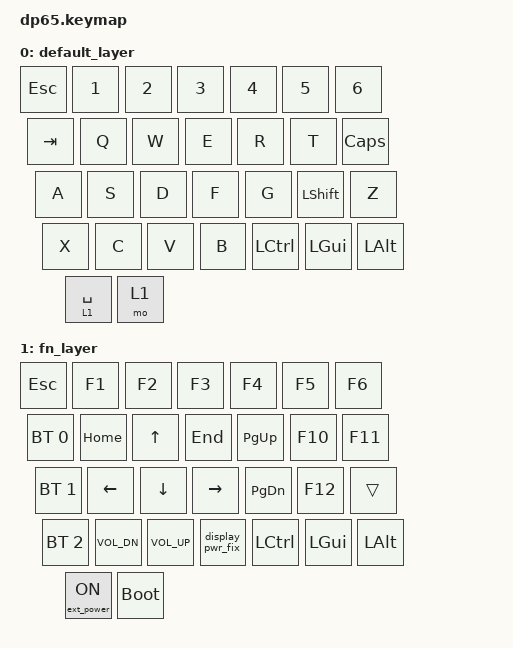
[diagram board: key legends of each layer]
#include <behaviors.dtsi>
#include <dt-bindings/zmk/keys.h>
#include <dt-bindings/zmk/bt.h>
#include <dt-bindings/zmk/ext_power.h>

/ {
    /* FN+B: power-cycle ext VCC (brief flash = panel works, needs reset after) */
    display_pwr_fix: display_pwr_fix {
        compatible = "zmk,behavior-macro";
        #binding-cells = <0>;
        wait-ms = <500>;
        bindings = <&ext_power EP_OFF &ext_power EP_ON>;
    };

    keymap {
        compatible = "zmk,keymap";

        default_layer {
            bindings = <
                &kp ESC   &kp N1    &kp N2    &kp N3    &kp N4    &kp N5    &kp N6
                &kp TAB   &kp Q     &kp W     &kp E     &kp R     &kp T     &kp CAPS
                &kp A     &kp S     &kp D     &kp F     &kp G     &kp LSHFT &kp Z
                &kp X     &kp C     &kp V     &kp B     &kp LCTRL &kp LGUI  &kp LALT
                &lt 1 SPACE &mo 1
            >;
        };

        fn_layer {
            bindings = <
                &kp ESC       &kp F1    &kp F2    &kp F3    &kp F4    &kp F5    &kp F6
                &bt BT_SEL 0  &kp HOME  &kp UP    &kp END   &kp PG_UP &kp F10   &kp F11
                &bt BT_SEL 1  &kp LEFT  &kp DOWN  &kp RIGHT &kp PG_DN &kp F12   &trans
                &bt BT_SEL 2  &kp C_VOL_DN &kp C_VOL_UP &display_pwr_fix &kp LCTRL &kp LGUI  &kp LALT
                &ext_power EP_ON &bootloader
            >;
        };
    };
};
